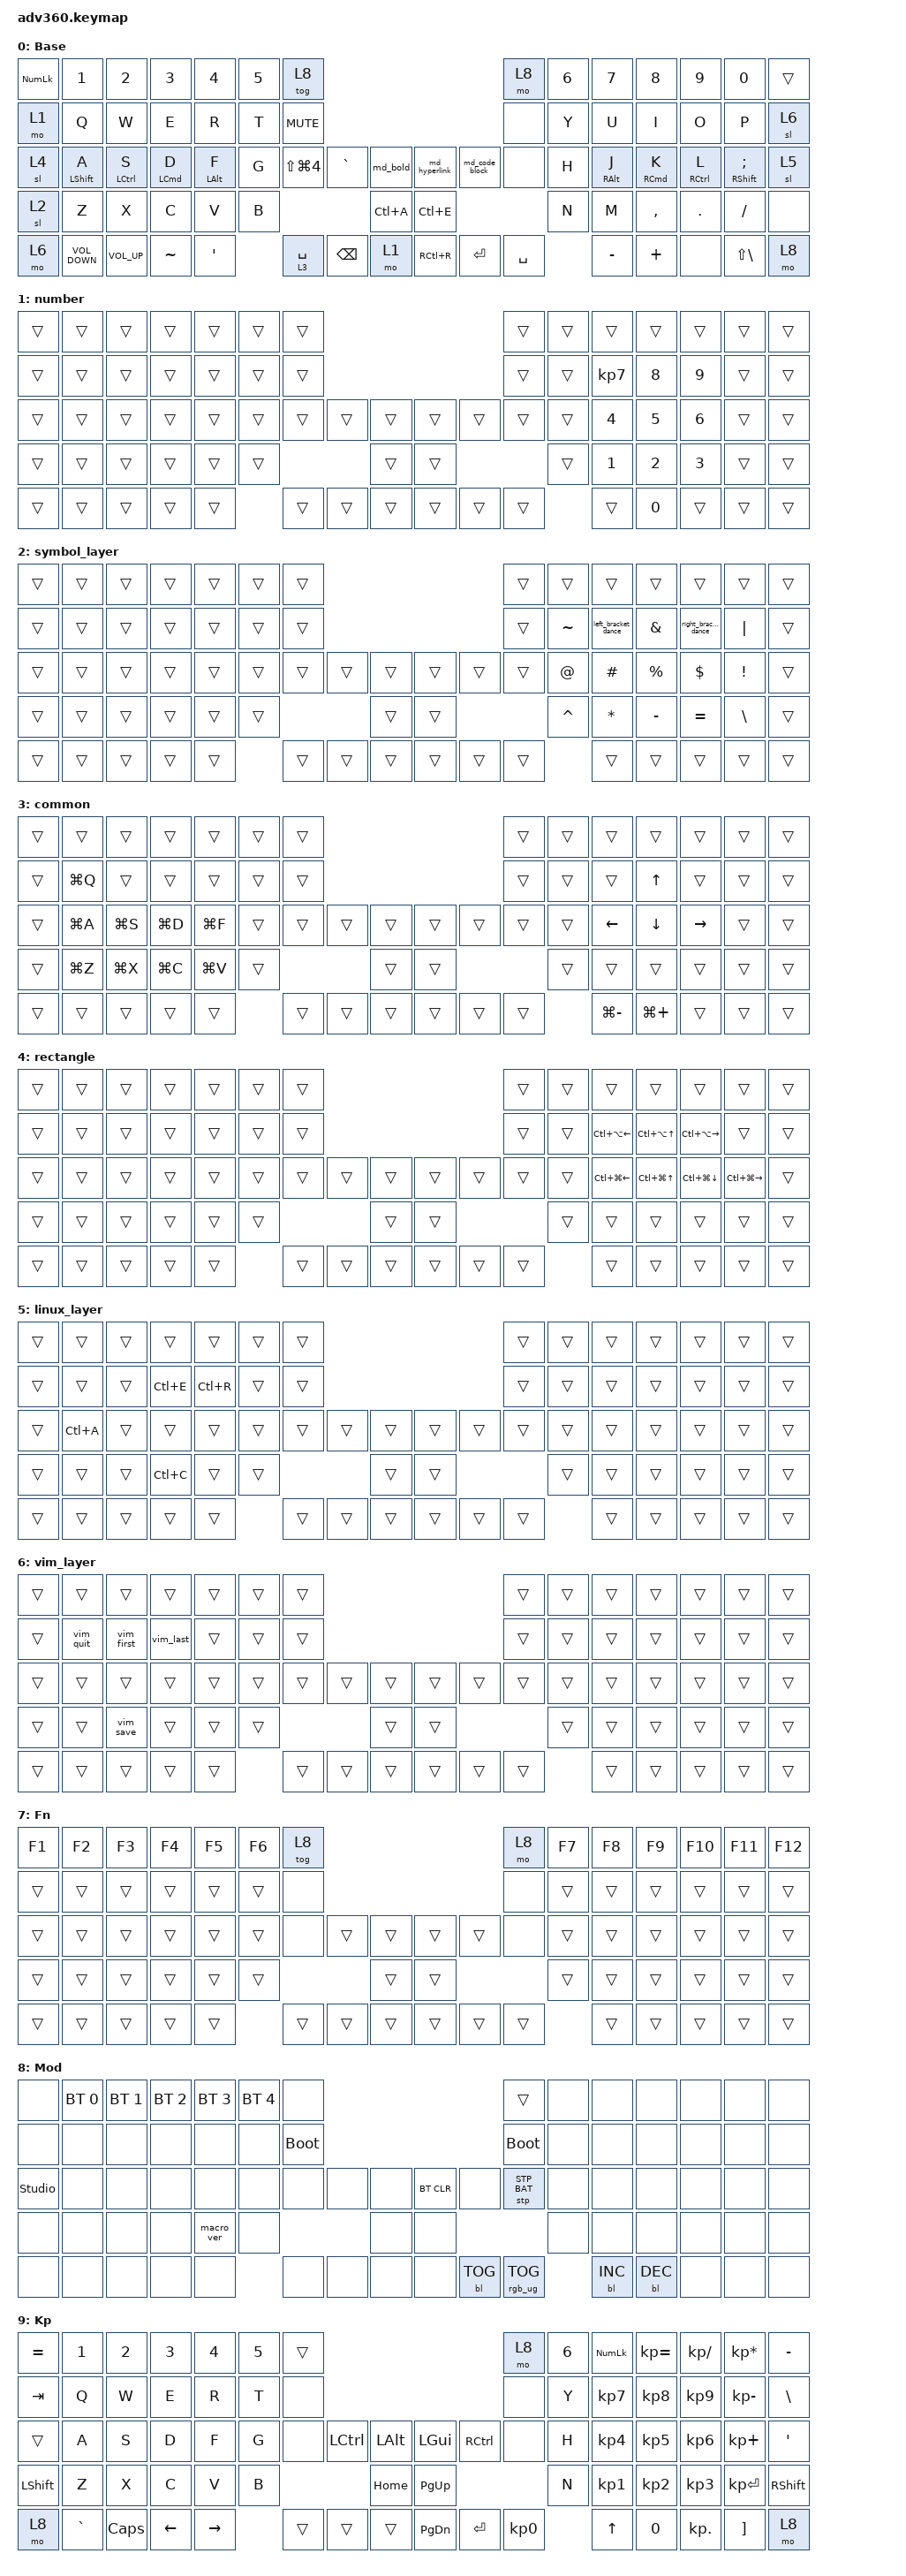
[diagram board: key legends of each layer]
#include <dt-bindings/zmk/stp.h>
#include <behaviors.dtsi>
#include <dt-bindings/zmk/backlight.h>
#include <dt-bindings/zmk/bt.h>
#include <dt-bindings/zmk/keys.h>
#include <dt-bindings/zmk/rgb.h>

/ {
    behaviors {
        #include "macros.dtsi"
      #include "version.dtsi"

        hm: homerow_mods {
            compatible = "zmk,behavior-hold-tap";
            label = "HOMEROW_MODS";
            #binding-cells = <2>;
            tapping-term-ms = <200>;
            quick_tap_ms = <175>;
            flavor = "tap-preferred";
            bindings = <&kp>, <&kp>;
        };

        home_row_mod: home_row_mod {
            compatible = "zmk,behavior-hold-tap";
            label = "HOME_ROW_MOD";
            bindings = <&kp>, <&kp>;

            #binding-cells = <2>;
            flavor = "balanced";
            tapping-term-ms = <150>;
            require-prior-idle-ms = <100>;
            quick-tap-ms = <175>;
            hold-trigger-key-positions = <29 32 30 31 42 43 44 41>;
        };

        standard_mode_tap: standard_mode_tap {
            compatible = "zmk,behavior-hold-tap";
            label = "STANDARD_MODE_TAP";
            bindings = <&kp>, <&kp>;

            #binding-cells = <2>;
            tapping-term-ms = <200>;
            quick-tap-ms = <175>;
        };

        mom_layer: mom_layer {
            compatible = "zmk,behavior-hold-tap";
            label = "MOM_LAYER";
            bindings = <&mo>, <&kp>;

            #binding-cells = <2>;
            tapping-term-ms = <280>;
            quick-tap-ms = <175>;
            require-prior-idle-ms = <150>;
        };

        left_bracket_dance: left_bracket_dance {
            compatible = "zmk,behavior-tap-dance";
            label = "LEFT_BRACKET_DANCE";
            #binding-cells = <0>;
            tapping-term-ms = <200>;
            bindings =
                <&kp LEFT_PARENTHESIS>,
                <&kp LEFT_BRACKET>,
                <&kp LEFT_BRACE>;
        };

        right_bracket_dance: right_bracket_dance {
            compatible = "zmk,behavior-tap-dance";
            label = "RIGHT_BRACKET_DANCE";
            #binding-cells = <0>;
            bindings =
                <&kp RIGHT_PARENTHESIS>,
                <&kp RIGHT_BRACKET>,
                <&kp RIGHT_BRACE>;

            tapping-term-ms = <200>;
        };

        my_cap_word: my_cap_word {
            compatible = "zmk,behavior-caps-word";
            label = "MY_CAP_WORD";
            #binding-cells = <0>;
            continue-list = <MINUS BACKSPACE>;
        };
    };

    combos {
        compatible = "zmk,combos";

        cap_word_combo {
            bindings = <&my_cap_word>;
            key-positions = <32 41>;
            timeout-ms = <70>;
            layers = <0>;
        };

        tab_combo {
            bindings = <&kp TAB>;
            key-positions = <65 70>;
            layers = <0>;
            timeout-ms = <70>;
        };

        esc {
            bindings = <&kp LC(ESCAPE)>;
            key-positions = <16 30>;
            timeout-ms = <70>;
        };

        symbol_mo {
            bindings = <&mo 2>;
            key-positions = <32 18>;
        };

        number_mo {
            bindings = <&mo 1>;
            key-positions = <19 33>;
        };
    };

    macros {
        md_code_block: md_code_block {
            compatible = "zmk,behavior-macro";
            #binding-cells = <0>;
            bindings = <&kp GRAVE &kp GRAVE &kp GRAVE &kp RET &kp RET &kp GRAVE &kp GRAVE &kp GRAVE &kp UP_ARROW>;
            label = "MD_CODE_BLOCK";
        };

        md_bold: md_bold {
            compatible = "zmk,behavior-macro";
            #binding-cells = <0>;
            bindings = <&kp ASTERISK &kp ASTERISK &kp ASTRK &kp ASTRK &kp LEFT &kp LEFT>;
            label = "MD_BOLD";
        };

        md_hyperlink: md_hyperlink {
            compatible = "zmk,behavior-macro";
            #binding-cells = <0>;
            bindings = <&kp LEFT_BRACKET &kp RIGHT_BRACKET &kp LEFT_PARENTHESIS &kp RIGHT_PARENTHESIS &kp LEFT &kp LEFT &kp LEFT>;
            label = "MD_HYPERLINK";
        };

        vim_quit: vim_quite {
            compatible = "zmk,behavior-macro";
            #binding-cells = <0>;
            bindings = <&kp COLON &kp Q>;
            label = "VIM_QUITE";
        };

        vim_save: vim_save {
            compatible = "zmk,behavior-macro";
            #binding-cells = <0>;
            bindings = <&kp COLON &kp X>;
            label = "VIM_SAVE";
        };

        vim_first: vim_first {
            compatible = "zmk,behavior-macro";
            #binding-cells = <0>;
            bindings = <&kp COLON &kp NUMBER_1>;
            label = "VIM_FIRST";
        };

        vim_last: vim_last {
            compatible = "zmk,behavior-macro";
            #binding-cells = <0>;
            bindings = <&kp COLON &kp DOLLAR>;
            label = "VIM_LAST";
        };
    };

    keymap {
        compatible = "zmk,keymap";

        default_layer {
            display-name = "Base";
            bindings = <
&kp KP_NUMLOCK  &kp N1                      &kp N2                        &kp N3                        &kp N4                    &kp N5  &tog 8                                                                           &mo 8      &kp N6  &kp N7                     &kp N8                         &kp N9                         &kp N0                               &trans
&mo 1           &kp Q                       &kp W                         &kp E                         &kp R                     &kp T   &kp C_MUTE                                                                       &none      &kp Y   &kp U                      &kp I                          &kp O                          &kp P                                &sl 6
&sl 4           &home_row_mod LEFT_SHIFT A  &home_row_mod LEFT_CONTROL S  &home_row_mod LEFT_COMMAND D  &home_row_mod LEFT_ALT F  &kp G   &kp LS(LG(N4))      &kp GRAVE      &md_bold       &md_hyperlink  &md_code_block  &none      &kp H   &home_row_mod RIGHT_ALT J  &home_row_mod RIGHT_COMMAND K  &home_row_mod RIGHT_CONTROL L  &home_row_mod RIGHT_SHIFT SEMICOLON  &sl 5
&sl 2           &kp Z                       &kp X                         &kp C                         &kp V                     &kp B                                      &kp LC(A)      &kp LC(E)                                 &kp N   &kp M                      &kp COMMA                      &kp DOT                        &kp FSLH                             &none
&mo 6           &kp C_VOLUME_DOWN           &kp C_VOLUME_UP               &kp TILDE                     &kp SINGLE_QUOTE                  &mom_layer 3 SPACE  &kp BACKSPACE  &mo 1          &kp RC(R)      &kp ENTER       &kp SPACE          &kp MINUS                  &kp PLUS                       &none                          &kp LS(BACKSLASH)                    &mo 8
            >;
        };

        number {
            bindings = <
&trans  &trans  &trans  &trans  &trans  &trans  &trans                                      &trans  &trans  &trans           &trans        &trans        &trans  &trans
&trans  &trans  &trans  &trans  &trans  &trans  &trans                                      &trans  &trans  &kp KP_NUMBER_7  &kp NUMBER_8  &kp NUMBER_9  &trans  &trans
&trans  &trans  &trans  &trans  &trans  &trans  &trans  &trans  &trans      &trans  &trans  &trans  &trans  &kp NUMBER_4     &kp NUMBER_5  &kp N6        &trans  &trans
&trans  &trans  &trans  &trans  &trans  &trans                  &trans      &trans                  &trans  &kp NUMBER_1     &kp NUMBER_2  &kp NUMBER_3  &trans  &trans
&trans  &trans  &trans  &trans  &trans          &trans  &trans  &trans      &trans  &trans  &trans          &trans           &kp NUMBER_0  &trans        &trans  &trans
            >;
        };

        symbol_layer {
            bindings = <
&trans  &trans  &trans  &trans  &trans  &trans  &trans                                      &trans  &trans     &trans               &trans         &trans                &trans         &trans
&trans  &trans  &trans  &trans  &trans  &trans  &trans                                      &trans  &kp TILDE  &left_bracket_dance  &kp AMPERSAND  &right_bracket_dance  &kp PIPE       &trans
&trans  &trans  &trans  &trans  &trans  &trans  &trans  &trans  &trans      &trans  &trans  &trans  &kp AT     &kp POUND            &kp PERCENT    &kp DOLLAR            &kp EXCL       &trans
&trans  &trans  &trans  &trans  &trans  &trans                  &trans      &trans                  &kp CARET  &kp ASTERISK         &kp MINUS      &kp EQUAL             &kp BACKSLASH  &trans
&trans  &trans  &trans  &trans  &trans          &trans  &trans  &trans      &trans  &trans  &trans             &trans               &trans         &trans                &trans         &trans
            >;
        };

        common {
            bindings = <
&trans  &trans     &trans     &trans     &trans     &trans  &trans                                      &trans  &trans  &trans         &trans        &trans     &trans  &trans
&trans  &kp LG(Q)  &trans     &trans     &trans     &trans  &trans                                      &trans  &trans  &trans         &kp UP_ARROW  &trans     &trans  &trans
&trans  &kp LG(A)  &kp LG(S)  &kp LG(D)  &kp LG(F)  &trans  &trans  &trans  &trans      &trans  &trans  &trans  &trans  &kp LEFT       &kp DOWN      &kp RIGHT  &trans  &trans
&trans  &kp LG(Z)  &kp LG(X)  &kp LG(C)  &kp LG(V)  &trans                  &trans      &trans                  &trans  &trans         &trans        &trans     &trans  &trans
&trans  &trans     &trans     &trans     &trans             &trans  &trans  &trans      &trans  &trans  &trans          &kp LG(MINUS)  &kp LG(PLUS)  &trans     &trans  &trans
            >;
        };

        rectangle {
            bindings = <
&trans  &trans  &trans  &trans  &trans  &trans  &trans                                      &trans  &trans  &trans                  &trans                &trans             &trans             &trans
&trans  &trans  &trans  &trans  &trans  &trans  &trans                                      &trans  &trans  &kp LC(LA(LEFT))        &kp LC(LA(UP_ARROW))  &kp LC(LA(RIGHT))  &trans             &trans
&trans  &trans  &trans  &trans  &trans  &trans  &trans  &trans  &trans      &trans  &trans  &trans  &trans  &kp LC(LG(LEFT_ARROW))  &kp LC(LG(UP_ARROW))  &kp LC(LG(DOWN))   &kp LC(LG(RIGHT))  &trans
&trans  &trans  &trans  &trans  &trans  &trans                  &trans      &trans                  &trans  &trans                  &trans                &trans             &trans             &trans
&trans  &trans  &trans  &trans  &trans          &trans  &trans  &trans      &trans  &trans  &trans          &trans                  &trans                &trans             &trans             &trans
            >;
        };

        linux_layer {
            bindings = <
&trans  &trans     &trans  &trans     &trans     &trans  &trans                                      &trans  &trans  &trans  &trans  &trans  &trans  &trans
&trans  &trans     &trans  &kp LC(E)  &kp LC(R)  &trans  &trans                                      &trans  &trans  &trans  &trans  &trans  &trans  &trans
&trans  &kp LC(A)  &trans  &trans     &trans     &trans  &trans  &trans  &trans      &trans  &trans  &trans  &trans  &trans  &trans  &trans  &trans  &trans
&trans  &trans     &trans  &kp LC(C)  &trans     &trans                  &trans      &trans                  &trans  &trans  &trans  &trans  &trans  &trans
&trans  &trans     &trans  &trans     &trans             &trans  &trans  &trans      &trans  &trans  &trans          &trans  &trans  &trans  &trans  &trans
            >;
        };

        vim_layer {
            bindings = <
&trans  &trans     &trans      &trans     &trans  &trans  &trans                                      &trans  &trans  &trans  &trans  &trans  &trans  &trans
&trans  &vim_quit  &vim_first  &vim_last  &trans  &trans  &trans                                      &trans  &trans  &trans  &trans  &trans  &trans  &trans
&trans  &trans     &trans      &trans     &trans  &trans  &trans  &trans  &trans      &trans  &trans  &trans  &trans  &trans  &trans  &trans  &trans  &trans
&trans  &trans     &vim_save   &trans     &trans  &trans                  &trans      &trans                  &trans  &trans  &trans  &trans  &trans  &trans
&trans  &trans     &trans      &trans     &trans          &trans  &trans  &trans      &trans  &trans  &trans          &trans  &trans  &trans  &trans  &trans
            >;
        };

        fn {
            display-name = "Fn";
            bindings = <
&kp F1  &kp F2  &kp F3  &kp F4  &kp F5  &kp F6  &tog 8                                      &mo 8   &kp F7  &kp F8  &kp F9  &kp F10  &kp F11  &kp F12
&trans  &trans  &trans  &trans  &trans  &trans  &none                                       &none   &trans  &trans  &trans  &trans   &trans   &trans
&trans  &trans  &trans  &trans  &trans  &trans  &none   &trans  &trans      &trans  &trans  &none   &trans  &trans  &trans  &trans   &trans   &trans
&trans  &trans  &trans  &trans  &trans  &trans                  &trans      &trans                  &trans  &trans  &trans  &trans   &trans   &trans
&trans  &trans  &trans  &trans  &trans          &trans  &trans  &trans      &trans  &trans  &trans          &trans  &trans  &trans   &trans   &trans
            >;
        };

        mod {
            display-name = "Mod";
            bindings = <
&none           &bt BT_SEL 0  &bt BT_SEL 1  &bt BT_SEL 2  &bt BT_SEL 3  &bt BT_SEL 4  &none                                                  &trans           &none  &none       &none       &none  &none  &none
&none           &none         &none         &none         &none         &none         &bootloader                                            &bootloader      &none  &none       &none       &none  &none  &none
&studio_unlock  &none         &none         &none         &none         &none         &none        &none  &none      &bt BT_CLR  &none       &stp STP_BAT     &none  &none       &none       &none  &none  &none
&none           &none         &none         &none         &macro_ver    &none                             &none      &none                                    &none  &none       &none       &none  &none  &none
&none           &none         &none         &none         &none                       &none        &none  &none      &none       &bl BL_TOG  &rgb_ug RGB_TOG         &bl BL_INC  &bl BL_DEC  &none  &none  &none
            >;
        };

        extra2 {
            display-name = "Purple";
            status = "reserved";
        };

        extra3 {
            display-name = "Cyan";
            status = "reserved";
        };

        extra4 {
            display-name = "Yellow";
            status = "reserved";
        };

        keypad {
            display-name = "Kp";
            bindings = <
&kp EQUAL  &kp N1     &kp N2    &kp N3    &kp N4     &kp N5  &trans                                                 &mo 8      &kp N6  &kp KP_NUM  &kp KP_EQUAL  &kp KP_DIVIDE  &kp KP_MULTIPLY  &kp MINUS
&kp TAB    &kp Q      &kp W     &kp E     &kp R      &kp T   &none                                                  &none      &kp Y   &kp KP_N7   &kp KP_N8     &kp KP_N9      &kp KP_MINUS     &kp BSLH
&trans     &kp A      &kp S     &kp D     &kp F      &kp G   &none   &kp LCTRL  &kp LALT      &kp LGUI   &kp RCTRL  &none      &kp H   &kp KP_N4   &kp KP_N5     &kp KP_N6      &kp KP_PLUS      &kp SQT
&kp LSHFT  &kp Z      &kp X     &kp C     &kp V      &kp B                      &kp HOME      &kp PG_UP                        &kp N   &kp KP_N1   &kp KP_N2     &kp KP_N3      &kp KP_ENTER     &kp RSHFT
&mo 8      &kp GRAVE  &kp CAPS  &kp LEFT  &kp RIGHT          &trans  &trans     &trans        &kp PG_DN  &kp ENTER  &kp KP_N0          &kp UP      &kp N0        &kp KP_DOT     &kp RBKT         &mo 8
            >;
        };
    };
};
